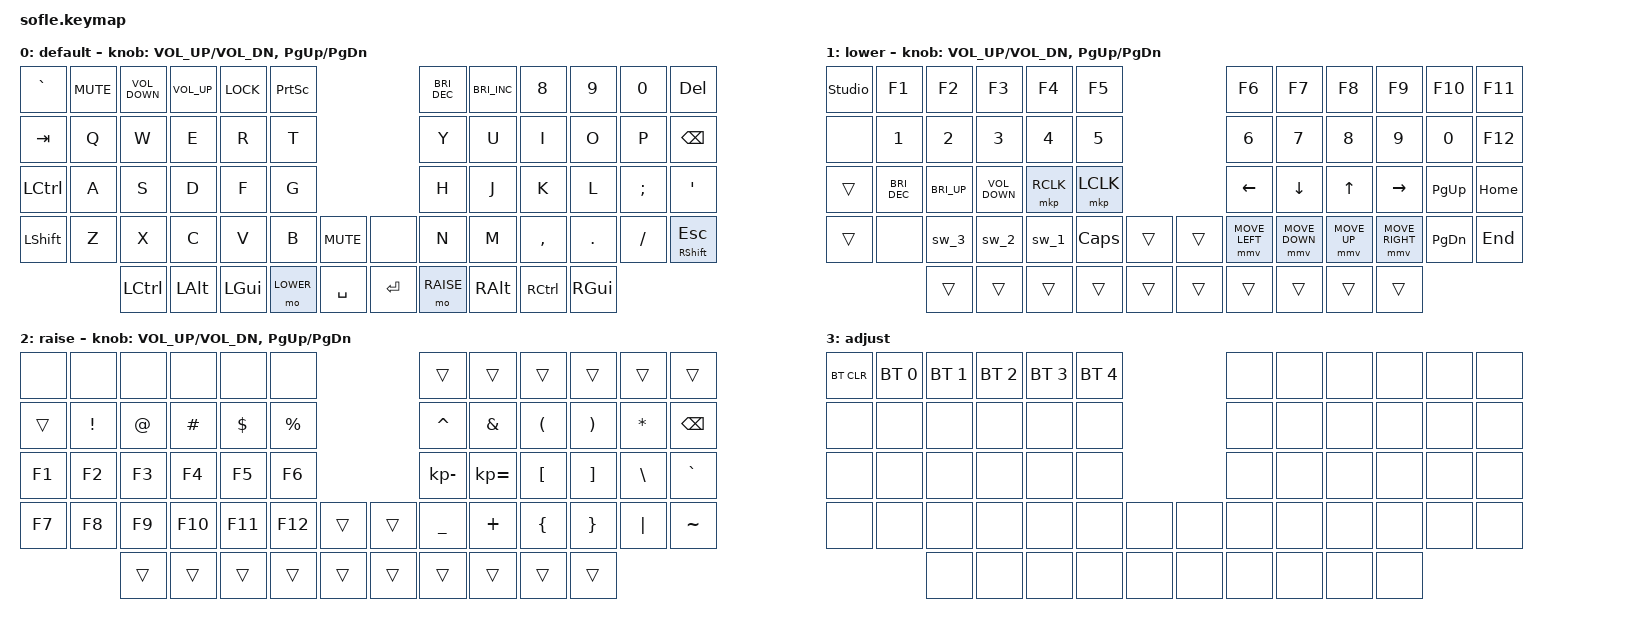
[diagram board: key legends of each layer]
/*
 * Copyright (c) 2020 The ZMK Contributors
 *
 * SPDX-License-Identifier: MIT
 */

#include <behaviors.dtsi>
#include <dt-bindings/zmk/bt.h>
#include <dt-bindings/zmk/keys.h>
#include <dt-bindings/zmk/pointing.h>

#define BASE 0
#define LOWER 1
#define RAISE 2
#define ADJUST 3

/ {
    // Activate ADJUST layer by pressing raise and lower

    conditional_layers {
        compatible = "zmk,conditional-layers";

        adjust_layer {
            if-layers = <LOWER RAISE>;
            then-layer = <ADJUST>;
        };
    };

    macros {
        sw_1: sw_o {
            compatible = "zmk,behavior-macro";
            #binding-cells = <0>;
            bindings =
                <&macro_press>,
                <&kp LEFT_GUI>,
                <&macro_tap>,
                <&kp SPACE>,
                <&macro_release>,
                <&kp LEFT_GUI>,
                <&macro_tap>,
                <&kp LEFT_BRACKET>,
                <&macro_press>,
                <&kp LGUI>,
                <&macro_tap>,
                <&kp SPACE>,
                <&macro_release>,
                <&kp LGUI>;

            label = "SW_O";
        };

        sw_2: sw_e {
            compatible = "zmk,behavior-macro";
            #binding-cells = <0>;
            bindings =
                <&macro_press>,
                <&kp LEFT_GUI>,
                <&macro_tap>,
                <&kp SPACE>,
                <&macro_release>,
                <&kp LEFT_GUI>,
                <&macro_tap>,
                <&kp SEMICOLON>,
                <&macro_press>,
                <&kp LGUI>,
                <&macro_tap>,
                <&kp SPACE>,
                <&macro_release>,
                <&kp LGUI>;

            label = "SW_E";
        };

        sw_3: sw_3 {
            compatible = "zmk,behavior-macro";
            #binding-cells = <0>;
            bindings =
                <&macro_press>,
                <&kp LEFT_GUI>,
                <&macro_tap>,
                <&kp SPACE>,
                <&macro_release>,
                <&kp LEFT_GUI>,
                <&macro_tap>,
                <&kp SINGLE_QUOTE>,
                <&macro_press>,
                <&kp LGUI>,
                <&macro_tap>,
                <&kp SPACE>,
                <&macro_release>,
                <&kp LGUI>;

            label = "SW_3";
        };
    };

    keymap {
        compatible = "zmk,keymap";

        default_layer {
            label = "default";

            // ------------------------------------------------------------------------------------------------------------
            // |   `   |  1  |  2  |  3   |  4   |  5   |                   |  6   |  7    |  8    |  9   |   0   |       |
            // |  ESC  |  Q  |  W  |  E   |  R   |  T   |                   |  Y   |  U    |  I    |  O   |   P   | BKSPC |
            // |  TAB  |  A  |  S  |  D   |  F   |  G   |                   |  H   |  J    |  K    |  L   |   ;   |   '   |
            // | SHIFT |  Z  |  X  |  C   |  V   |  B   |  MUTE  |  |       |  N   |  M    |  ,    |  .   |   /   | SHIFT |
            //               | GUI | ALT  | CTRL | LOWER|  ENTER |  | SPACE | RAISE| CTRL  | ALT   | GUI  |

            bindings = <
&kp GRAVE  &kp C_MUTE  &kp C_VOLUME_DOWN  &kp C_VOLUME_UP  &kp K_LOCK  &kp PRINTSCREEN                         &kp C_BRIGHTNESS_DEC  &kp C_BRIGHTNESS_INC  &kp N8             &kp N9    &kp N0    &kp DELETE
&kp TAB    &kp Q       &kp W              &kp E            &kp R       &kp T                                   &kp Y                 &kp U                 &kp I              &kp O     &kp P     &kp BSPC
&kp LCTRL  &kp A       &kp S              &kp D            &kp F       &kp G                                   &kp H                 &kp J                 &kp K              &kp L     &kp SEMI  &kp SQT
&kp LSHFT  &kp Z       &kp X              &kp C            &kp V       &kp B            &kp C_MUTE    &none    &kp N                 &kp M                 &kp COMMA          &kp DOT   &kp FSLH  &mt RIGHT_SHIFT ESCAPE
                       &kp LEFT_CONTROL   &kp LALT         &kp LGUI    &mo LOWER        &kp SPACE     &kp RET  &mo RAISE             &kp RALT              &kp RIGHT_CONTROL  &kp RGUI
            >;

            sensor-bindings = <&inc_dec_kp C_VOL_UP C_VOL_DN &inc_dec_kp PG_UP PG_DN>;
        };

        lower_layer {
            label = "lower";

            // TODO: Some binds are waiting for shifted keycode support.
            // ------------------------------------------------------------------------------------------------------------
            // |       |  F1 |  F2 |  F3  |  F4  |  F5  |                   |  F6  |  F7   |  F8   |  F9  |  F10  |  F11  |
            // |   `   |  1  |  2  |  3   |  4   |  5   |                   |  6   |  7    |  8    |  9   |   0   |  F12  |
            // |       |  !  |  @  |  #   |  $   |  %   |                   |  ^   |  &    |  *    |  (   |   )   |   |   |
            // |       |  =  |  -  |  +   |  {   |  }   |        |  |       |  [   |  ]    |  ;    |  :   |   \   |       |
            //               |     |      |      |      |        |  |       |      |       |       |      |

            bindings = <
&studio_unlock  &kp F1         &kp F2        &kp F3             &kp F4     &kp F5                       &kp F6          &kp F7          &kp F8        &kp F9           &kp F10        &kp F11
&none           &kp N1         &kp N2        &kp N3             &kp N4     &kp N5                       &kp N6          &kp N7          &kp N8        &kp N9           &kp N0         &kp F12
&trans          &kp C_BRI_DEC  &kp C_BRI_UP  &kp K_VOLUME_DOWN  &mkp RCLK  &mkp LCLK                    &kp LEFT        &kp DOWN_ARROW  &kp UP_ARROW  &kp RIGHT        &kp PAGE_UP    &kp HOME
&trans          &none          &sw_3         &sw_2              &sw_1      &kp CLCK   &trans    &trans  &mmv MOVE_LEFT  &mmv MOVE_DOWN  &mmv MOVE_UP  &mmv MOVE_RIGHT  &kp PAGE_DOWN  &kp END
                               &trans        &trans             &trans     &trans     &trans    &trans  &trans          &trans          &trans        &trans
            >;

            sensor-bindings = <&inc_dec_kp C_VOL_UP C_VOL_DN &inc_dec_kp PG_UP PG_DN>;
        };

        raise_layer {
            label = "raise";

            // ------------------------------------------------------------------------------------------------------------
            // | BTCLR | BT1  | BT2  |  BT3  |  BT4  |  BT5 |                |      |      |       |      |       |       |
            // |       | INS  | PSCR | GUI   |       |      |                | PGUP |      |   ^   |      |       |       |
            // |       | ALT  | CTRL | SHIFT |       | CAPS |                | PGDN |   <- |   v   |  ->  |  DEL  | BKSPC |
            // |       | UNDO | CUT  | COPY  | PASTE |      |      |  |      |      |      |       |      |       |       |
            //                |      |       |       |      |      |  |      |      |      |       |      |

            bindings = <
&none   &none     &none   &none     &none       &none                        &trans        &trans        &trans                &trans             &trans         &trans
&trans  &kp EXCL  &kp AT  &kp HASH  &kp DOLLAR  &kp PRCNT                    &kp CARET     &kp AMPS      &kp LEFT_PARENTHESIS  &kp RPAR           &kp STAR       &kp BACKSPACE
&kp F1  &kp F2    &kp F3  &kp F4    &kp F5      &kp F6                       &kp KP_MINUS  &kp KP_EQUAL  &kp LEFT_BRACKET      &kp RIGHT_BRACKET  &kp BACKSLASH  &kp GRAVE
&kp F7  &kp F8    &kp F9  &kp F10   &kp F11     &kp F12    &trans    &trans  &kp UNDER     &kp PLUS      &kp LEFT_BRACE        &kp RIGHT_BRACE    &kp PIPE       &kp TILDE
                  &trans  &trans    &trans      &trans     &trans    &trans  &trans        &trans        &trans                &trans
            >;

            sensor-bindings = <&inc_dec_kp C_VOL_UP C_VOL_DN &inc_dec_kp PG_UP PG_DN>;
        };

        adjust_layer {
            // ----------------------------------------------------------------------------------------------------------------------------
            // | BTCLR  |  BT1    |  BT2    |   BT3   |   BT4   |   BT5   |                  |      |      |       |      |       |       |
            // | EXTPWR | RGB_HUD | RGB_HUI | RGB_SAD | RGB_SAI | RGB_EFF |                  |      |      |       |      |       |       |
            // |        | RGB_BRD | RGB_BRI |         |         |         |                  |      |      |       |      |       |       |
            // |        |         |         |         |         |         | RGB_TOG | |      |      |      |       |      |       |       |
            //                    |         |         |         |         |         | |      |      |      |       |      |

            label = "adjust";
            bindings = <
&bt BT_CLR  &bt BT_SEL 0  &bt BT_SEL 1  &bt BT_SEL 2  &bt BT_SEL 3  &bt BT_SEL 4                  &none  &none  &none  &none  &none  &none
&none       &none         &none         &none         &none         &none                         &none  &none  &none  &none  &none  &none
&none       &none         &none         &none         &none         &none                         &none  &none  &none  &none  &none  &none
&none       &none         &none         &none         &none         &none         &none    &none  &none  &none  &none  &none  &none  &none
                          &none         &none         &none         &none         &none    &none  &none  &none  &none  &none
            >;
        };
    };
};
